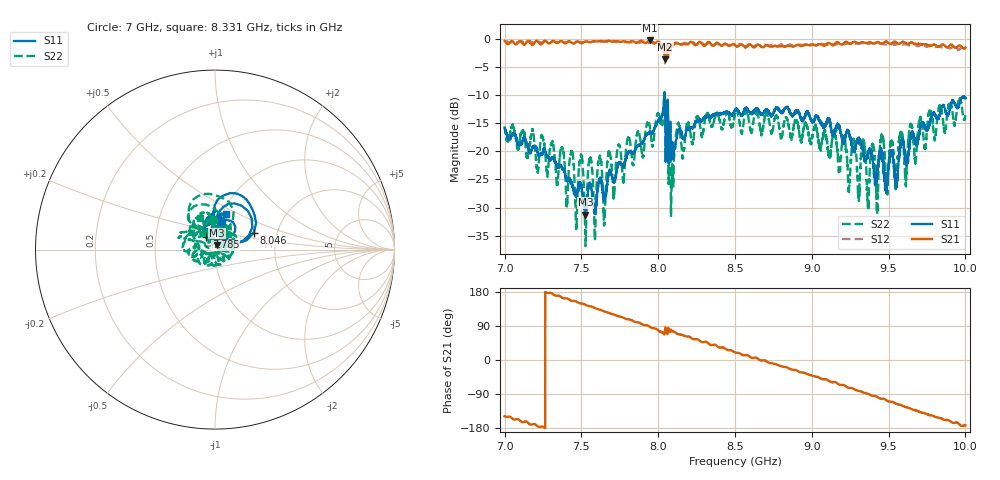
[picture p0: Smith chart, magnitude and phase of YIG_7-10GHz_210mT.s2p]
#  HZ  S  RI  R  50.0
! Rohde & Schwarz ZVL13 2Ports - Version 3.31 - 1303.6509k13 SN: 101088
! Date: 2023-03-06 15:26:52
! Data & Calibration Information:
! Trc4:S11(TOSM) Trc2:S21(TOSM) Trc3:S12(TOSM) Trc5:S22(TOSM)
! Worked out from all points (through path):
!   4000 points, 7 GHz to 10 GHz, reference 50 ohm
!   highest |S21| = -0.35 dB at 7.944 GHz (marker M1); lowest = -3.7 dB at 8.045 GHz (marker M2)
!   group delay of S21, straight-line fit = 357 ps
!   lowest |S11| = -31.2 dB at 7.527 GHz (marker M3), VSWR 1.06, Z = 51.1 + j2.56 ohm
!   |S11| at or under -10 dB: start of sweep to 8.039 GHz; 8.043 GHz to end of sweep
!   |S22| runs from -36.8 to -10.0 dB; largest |S21 - S12| = 0.11
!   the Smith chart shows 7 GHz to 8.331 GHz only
!   S11 on the Smith chart (normalised r, x): 7 GHz: 1.02, +0.33; 7.785 GHz: 0.90, +0.12; 8.046 GHz: 1.51, +0.30; 8.331 GHz: 1.04, +0.43
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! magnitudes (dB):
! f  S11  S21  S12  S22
! 7 GHz  -15.8  -0.4  -0.5  -15.7
! 7.436 GHz  -25.5  -0.7  -0.6  -20.0
! 7.467 GHz  -28.2  -0.6  -0.5  -33.4
! 7.5 GHz  -25.9  -0.8  -0.6  -20.8
! 7.527 GHz  -31.2  -0.5  -0.5  -36.8
! 7.556 GHz  -25.6  -0.7  -0.6  -21.2
! 7.587 GHz  -30.9  -0.5  -0.5  -35.8
! 7.617 GHz  -24.9  -0.5  -0.6  -21.2
! 7.65 GHz  -28.6  -0.5  -0.5  -32.8
! 7.68 GHz  -23.8  -0.4  -0.6  -20.2
! 7.785 GHz  -21.5  -0.5  -0.7  -21.3
! 7.944 GHz  -16.7  -0.3  -0.8  -15.4
! 8 GHz  -14.5  -0.6  -0.9  -13.2
! 8.045 GHz  -11.3  -3.7  -4.3  -11.2
! 8.046 GHz  -12.6  -3.4  -3.8  -12.4
! 8.095 GHz  -19.6  -1.3  -1.4  -23.4
! 8.128 GHz  -16.6  -0.9  -0.8  -15.1
! 8.331 GHz  -13.7  -0.6  -0.8  -14.1
! 8.5 GHz  -12.7  -1.2  -1.2  -13.3
! 9 GHz  -14.5  -1.1  -1.0  -17.9
! 9.5 GHz  -22.5  -0.8  -0.9  -22.4
! 10 GHz  -10.6  -1.6  -1.8  -13.6
